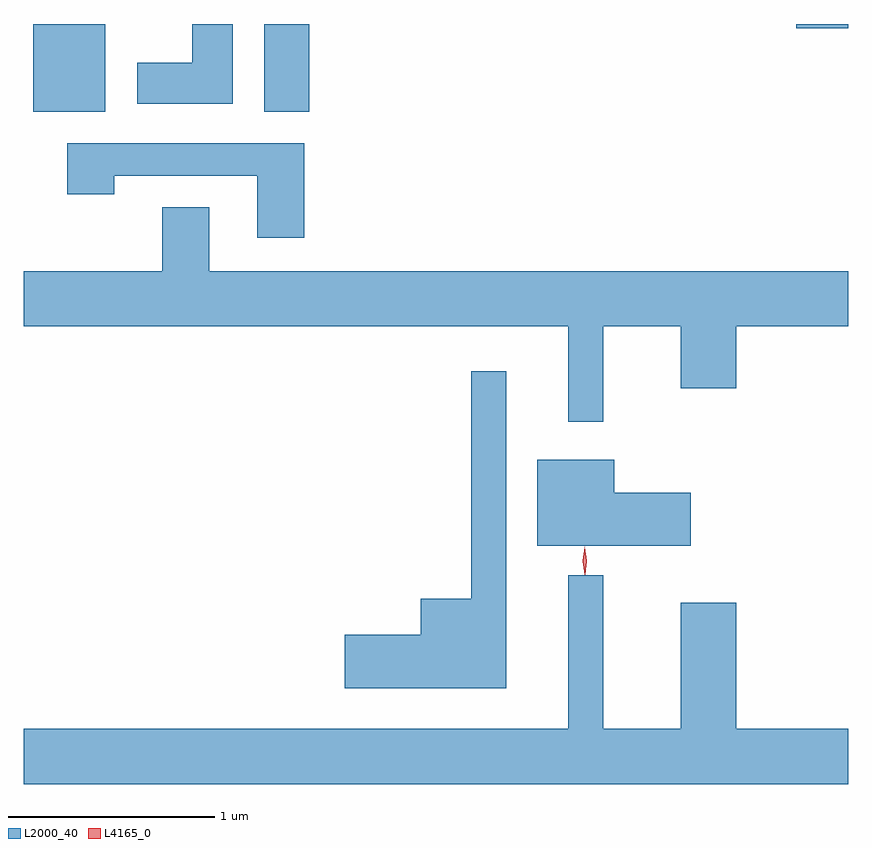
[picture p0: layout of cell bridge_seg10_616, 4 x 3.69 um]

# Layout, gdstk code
import gdstk
lib = gdstk.Library(unit=1e-6, precision=1e-09)
def R(c, l, rs):  # rectangles x0, y0, x1, y1
    for r in rs: c.add(gdstk.rectangle(r[:2], r[2:], *l))
def P(c, l, *ps):  # polygons
    for p in ps: c.add(gdstk.Polygon(p, *l))
L2000_40 = (2000, 40)
L4165_0 = (4165, 0)

bridge_seg10_616 = lib.new_cell('bridge_seg10_616')
R(bridge_seg10_616, L2000_40, [(671.476,2139.376,671.824,2139.802), (672.596,2139.376,672.814,2139.802), (675.176,2139.781,675.429,2139.802)])
P(bridge_seg10_616, L2000_40, [(672.444,2139.802),(672.246,2139.802),(672.246,2139.614),(671.981,2139.614),(671.981,2139.416),(672.444,2139.416)],
  [(672.789,2139.224),(671.641,2139.224),(671.641,2138.976),(671.869,2138.976),(671.869,2139.066),(672.561,2139.066),(672.561,2138.766),(672.789,2138.766)],
  [(674.239,2138.336),(674.616,2138.336),(674.616,2138.036),(674.884,2138.036),(674.884,2138.336),(675.429,2138.336),(675.429,2138.604),(672.329,2138.604),(672.329,2138.914),(672.101,2138.914),(672.101,2138.604),(671.429,2138.604),(671.429,2138.336),(674.071,2138.336),(674.071,2137.873),(674.239,2137.873)],
  [(673.769,2138.118),(673.601,2138.118),(673.601,2137.014),(673.356,2137.014),(673.356,2136.839),(672.986,2136.839),(672.986,2136.581),(673.769,2136.581)],
  [(674.664,2137.529),(674.294,2137.529),(674.294,2137.689),(673.921,2137.689),(673.921,2137.271),(674.664,2137.271)],
  [(675.429,2136.384),(674.884,2136.384),(674.884,2136.994),(674.616,2136.994),(674.616,2136.384),(674.239,2136.384),(674.239,2137.128),(674.071,2137.128),(674.071,2136.384),(671.429,2136.384),(671.429,2136.116),(675.429,2136.116)])
P(bridge_seg10_616, L4165_0, [(674.15,2137.13),(674.141,2137.198),(674.15,2137.265),(674.15,2137.266),(674.151,2137.265),(674.16,2137.198),(674.152,2137.13),(674.151,2137.13)],
  [(674.15,2137.133),(674.141,2137.196),(674.15,2137.259),(674.15,2137.26),(674.151,2137.259),(674.161,2137.196),(674.152,2137.133),(674.151,2137.133)])

lib.write_gds('bridge_seg10_616.gds')
